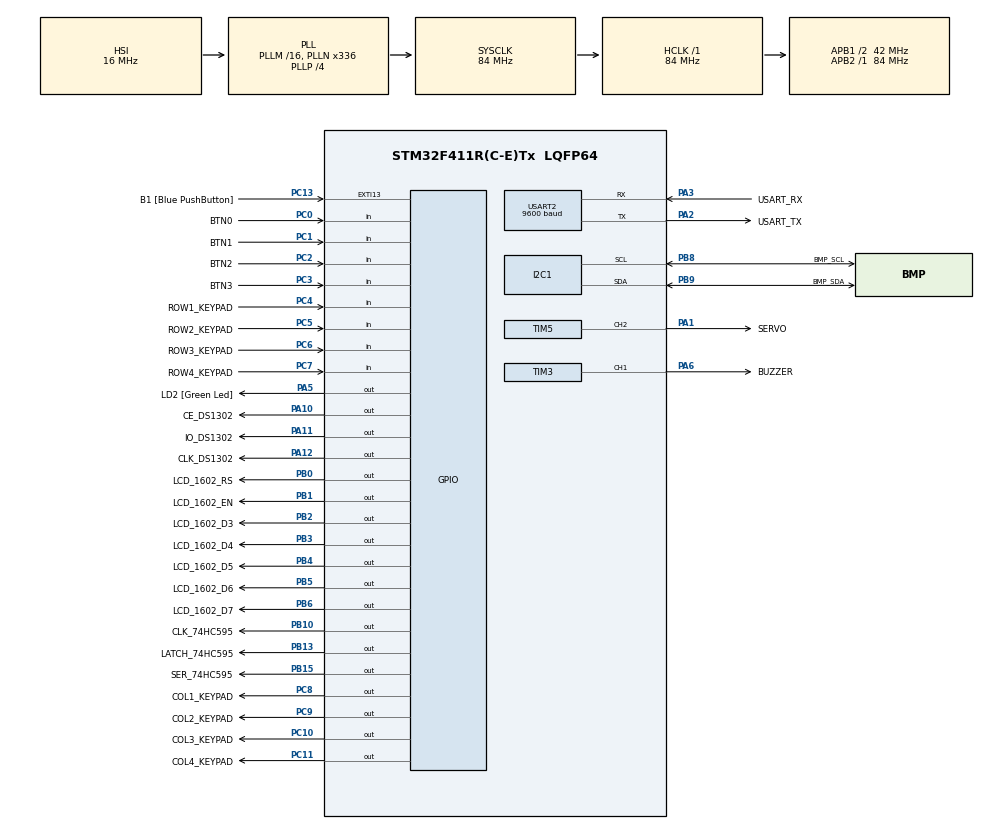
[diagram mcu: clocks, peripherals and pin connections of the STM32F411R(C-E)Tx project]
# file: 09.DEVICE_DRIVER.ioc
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FREERTOS.Tasks01=defaultTask,24,128,StartDefaultTask,Default,NULL,Dynamic,NULL,NULL;myTask02,8,128,StartTask02,Default,NULL,Dynamic,NULL,NULL;myTask03,8,128,StartTask03,Default,NULL,Dynamic,NULL,NULL
FREERTOS.configUSE_NEWLIB_REENTRANT=1
Mcu.Family=STM32F4
Mcu.Name=STM32F411R(C-E)Tx
Mcu.Package=LQFP64
NVIC.PriorityGroup=NVIC_PRIORITYGROUP_4
NVIC.TIM1_TRG_COM_TIM11_IRQn=true\:5\:0\:false\:false\:true\:true\:true\:true
NVIC.TIM1_UP_TIM10_IRQn=true\:15\:0\:false\:false\:true\:false\:false\:true
NVIC.TIM3_IRQn=true\:5\:0\:false\:false\:true\:true\:true\:true
NVIC.TIM5_IRQn=true\:5\:0\:false\:false\:true\:true\:true\:true
NVIC.TimeBase=TIM1_UP_TIM10_IRQn
NVIC.TimeBaseIP=TIM10
NVIC.USART2_IRQn=true\:5\:0\:false\:false\:true\:true\:true\:true
PA1.GPIO_Label=SERVO
PA1.Signal=S_TIM5_CH2
PA10.GPIO_Label=CE_DS1302
PA10.Signal=GPIO_Output
PA11.GPIO_Label=IO_DS1302
PA11.Signal=GPIO_Output
PA12.GPIO_Label=CLK_DS1302
PA12.Signal=GPIO_Output
PA13.GPIO_Label=TMS
PA13.Mode=Serial_Wire
PA13.Signal=SYS_JTMS-SWDIO
PA14.GPIO_Label=TCK
PA14.Mode=Serial_Wire
PA14.Signal=SYS_JTCK-SWCLK
PA2.GPIO_Label=USART_TX
PA2.Mode=Asynchronous
PA2.Signal=USART2_TX
PA3.GPIO_Label=USART_RX
PA3.Mode=Asynchronous
PA3.Signal=USART2_RX
PA5.GPIO_Label=LD2 [Green Led]
PA5.Signal=GPIO_Output
PA6.GPIO_Label=BUZZER
PA6.Signal=S_TIM3_CH1
PB0.GPIO_Label=LCD_1602_RS
PB0.Signal=GPIO_Output
PB1.GPIO_Label=LCD_1602_EN
PB1.Signal=GPIO_Output
PB10.GPIO_Label=CLK_74HC595
PB10.Signal=GPIO_Output
PB13.GPIO_Label=LATCH_74HC595
PB13.Signal=GPIO_Output
PB15.GPIO_Label=SER_74HC595
PB15.Signal=GPIO_Output
PB2.GPIO_Label=LCD_1602_D3
PB2.Signal=GPIO_Output
PB3.GPIO_Label=LCD_1602_D4
PB3.Signal=GPIO_Output
PB4.GPIO_Label=LCD_1602_D5
PB4.Signal=GPIO_Output
PB5.GPIO_Label=LCD_1602_D6
PB5.Signal=GPIO_Output
PB6.GPIO_Label=LCD_1602_D7
PB6.Signal=GPIO_Output
PB8.GPIO_Label=BMP_SCL
PB8.Mode=I2C
PB8.Signal=I2C1_SCL
PB9.GPIO_Label=BMP_SDA
PB9.Mode=I2C
PB9.Signal=I2C1_SDA
PC0.GPIO_Label=BTN0
PC0.Signal=GPIO_Input
PC1.GPIO_Label=BTN1
PC1.Signal=GPIO_Input
PC10.GPIO_Label=COL3_KEYPAD
PC10.Signal=GPIO_Output
PC11.GPIO_Label=COL4_KEYPAD
PC11.Signal=GPIO_Output
PC13-ANTI_TAMP.GPIO_Label=B1 [Blue PushButton]
PC13-ANTI_TAMP.GPIO_ModeDefaultEXTI=GPIO_MODE_IT_FALLING
PC13-ANTI_TAMP.Signal=GPXTI13
PC14-OSC32_IN.Mode=LSE-External-Oscillator
PC14-OSC32_IN.Signal=RCC_OSC32_IN
PC15-OSC32_OUT.Mode=LSE-External-Oscillator
PC15-OSC32_OUT.Signal=RCC_OSC32_OUT
PC2.GPIO_Label=BTN2
PC2.Signal=GPIO_Input
PC3.GPIO_Label=BTN3
PC3.Signal=GPIO_Input
PC4.GPIO_Label=ROW1_KEYPAD
PC4.GPIO_PuPd=GPIO_PULLUP
PC4.Signal=GPIO_Input
PC5.GPIO_Label=ROW2_KEYPAD
PC5.GPIO_PuPd=GPIO_PULLUP
PC5.Signal=GPIO_Input
PC6.GPIO_Label=ROW3_KEYPAD
PC6.GPIO_PuPd=GPIO_PULLUP
PC6.Signal=GPIO_Input
PC7.GPIO_Label=ROW4_KEYPAD
PC7.GPIO_PuPd=GPIO_PULLUP
PC7.Signal=GPIO_Input
PC8.GPIO_Label=COL1_KEYPAD
PC8.Signal=GPIO_Output
PC9.GPIO_Label=COL2_KEYPAD
PC9.Signal=GPIO_Output
PH0\ -\ OSC_IN.Mode=HSE-External-Clock-Source
PH0\ -\ OSC_IN.Signal=RCC_OSC_IN
PH1\ -\ OSC_OUT.Mode=HSE-External-Clock-Source
PH1\ -\ OSC_OUT.Signal=RCC_OSC_OUT
ProjectManager.HeapSize=0x200
ProjectManager.StackSize=0x400
ProjectManager.TargetToolchain=STM32CubeIDE
RCC.48MHZClocksFreq_Value=84000000
RCC.AHBFreq_Value=84000000
RCC.APB1CLKDivider=RCC_HCLK_DIV2
RCC.APB1Freq_Value=42000000
RCC.APB1TimFreq_Value=84000000
RCC.APB2Freq_Value=84000000
RCC.APB2TimFreq_Value=84000000
RCC.CortexFreq_Value=84000000
RCC.FLatency-AdvancedSettings=FLASH_LATENCY_2
RCC.HCLKFreq_Value=84000000
RCC.HSE_VALUE=8000000
RCC.HSI_VALUE=16000000
RCC.PLLN=336
RCC.PLLP=RCC_PLLP_DIV4
RCC.SYSCLKFreq_VALUE=84000000
RCC.SYSCLKSource=RCC_SYSCLKSOURCE_PLLCLK
RCC.VCOOutputFreq_Value=336000000
SH.S_TIM3_CH1.0=TIM3_CH1,PWM Generation1 CH1
SH.S_TIM5_CH2.0=TIM5_CH2,PWM Generation2 CH2
TIM11.Period=1000-1
TIM11.Prescaler=84-1
TIM2.Prescaler=84-1
TIM3.Channel-PWM\ Generation1\ CH1=TIM_CHANNEL_1
TIM3.Period=400-1
TIM3.Prescaler=52.5-1
TIM3.Pulse-PWM\ Generation1\ CH1=200-1
TIM5.Channel-PWM\ Generation2\ CH2=TIM_CHANNEL_2
TIM5.Period=1000-1
TIM5.Prescaler=1680-1
USART2.BaudRate=9600
USART2.VirtualMode=VM_ASYNC
VP_FREERTOS_VS_CMSIS_V2.Mode=CMSIS_V2
VP_SYS_VS_tim10.Mode=TIM10
VP_TIM11_VS_ClockSourceINT.Mode=Enable_Timer
VP_TIM2_VS_ClockSourceINT.Mode=Internal
VP_TIM3_VS_ClockSourceINT.Mode=Internal
VP_TIM5_VS_ClockSourceINT.Mode=Internal
board=NUCLEO-F411RE

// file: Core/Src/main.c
/* USER CODE BEGIN Header */
/**
  ******************************************************************************
  * @file           : main.c
  * @brief          : Main program body
  ******************************************************************************
  * @attention
  *
  * <h2><center>&copy; Copyright (c) 2025 STMicroelectronics.
  * All rights reserved.</center></h2>
  *
  * This software component is licensed by ST under BSD 3-Clause license,
  * the "License"; You may not use this file except in compliance with the
  * License. You may obtain a copy of the License at:
  *                        opensource.org/licenses/BSD-3-Clause
  *
  ******************************************************************************
  */
/* USER CODE END Header */
#include "main.h"
#include "cmsis_os.h"

/* USER CODE BEGIN Includes */
#include "extern.h"
/* USER CODE END Includes */

I2C_HandleTypeDef hi2c1;

TIM_HandleTypeDef htim2;
TIM_HandleTypeDef htim3;
TIM_HandleTypeDef htim5;
TIM_HandleTypeDef htim11;

UART_HandleTypeDef huart2;

/* Definitions for defaultTask */
osThreadId_t defaultTaskHandle;
const osThreadAttr_t defaultTask_attributes = {
  .name = "defaultTask",
  .stack_size = 128 * 4,
  .priority = (osPriority_t) osPriorityNormal,
};
/* Definitions for myTask02 */
osThreadId_t myTask02Handle;
const osThreadAttr_t myTask02_attributes = {
  .name = "myTask02",
  .stack_size = 128 * 4,
  .priority = (osPriority_t) osPriorityLow,
};
/* Definitions for myTask03 */
osThreadId_t myTask03Handle;
const osThreadAttr_t myTask03_attributes = {
  .name = "myTask03",
  .stack_size = 128 * 4,
  .priority = (osPriority_t) osPriorityLow,
};
/* USER CODE BEGIN PV */
uint8_t rx_data;   // uart2 rx byte
volatile int TIM11_1ms_counter=0;
volatile int TIM11_keypad_scan_timer = 0;
/* USER CODE END PV */

void SystemClock_Config(void);
static void MX_GPIO_Init(void);
static void MX_USART2_UART_Init(void);
static void MX_TIM11_Init(void);
static void MX_TIM2_Init(void);
static void MX_I2C1_Init(void);
static void MX_TIM3_Init(void);
static void MX_TIM5_Init(void);
void StartDefaultTask(void *argument);
void StartTask02(void *argument);
void StartTask03(void *argument);

/* USER CODE BEGIN 0 */

#ifdef __GNUC__    // Add for printf
/* With GCC, small printf (option LD Linker->Libraries->Small printf
   set to 'Yes') calls __io_putchar() */
#define PUTCHAR_PROTOTYPE int __io_putchar(int ch)
#else
#define PUTCHAR_PROTOTYPE int fputc(int ch, FILE *f)
#endif /* __GNUC__ */
/**
  * @brief  Retargets the C library printf function to the USART.
  * @param  None
  * @retval None
  */
PUTCHAR_PROTOTYPE   // Add for printf
{
  /* Place your implementation of fputc here */
  /* e.g. write a character to the USART3 and Loop until the end of transmission */
  HAL_UART_Transmit(&huart2, (uint8_t *)&ch, 1, 0xFFFF);

  return ch;
}
/* USER CODE END 0 */

int main(void)
{

  /* MCU Configuration--------------------------------------------------------*/

  /* Reset of all peripherals, Initializes the Flash interface and the Systick. */
  HAL_Init();

  /* Configure the system clock */
  SystemClock_Config();

  /* Initialize all configured peripherals */
  MX_GPIO_Init();
  MX_USART2_UART_Init();
  MX_TIM11_Init();
  MX_TIM2_Init();
  MX_I2C1_Init();
  MX_TIM3_Init();
  MX_TIM5_Init();
  /* USER CODE BEGIN 2 */
  HAL_UART_Receive_IT(&huart2, &rx_data, 1);
  HAL_TIM_Base_Start_IT(&htim11);
  HAL_TIM_Base_Start_IT(&htim2);   // for make delay_us

  /* keypadInit();
  while(1)
  {
	  key_cal();
	  //printf("%d",key_cal());
	  if(!queue_empty())
	  {
		  uint8_t key_value;
		  key_value = read_queue();
		  printf("Key : %c\n",key_value);
	  }
*/

// dotmatrix_name_main();
// dotmatrix_main_test();
  //bmp180_test_main();
  lcd_1602_main();
  //ds1302_main();
  //I2C_Scan();
// led_main();
// i2c_lcd_main();
// ds1302_main();
// buzzer_main();
// servo_motor_main();

  /* USER CODE END 2 */

  /* Init scheduler */
  osKernelInitialize();

  /* Create the thread(s) */
  /* creation of defaultTask */
  defaultTaskHandle = osThreadNew(StartDefaultTask, NULL, &defaultTask_attributes);

  /* creation of myTask02 */
  myTask02Handle = osThreadNew(StartTask02, NULL, &myTask02_attributes);

  /* creation of myTask03 */
  myTask03Handle = osThreadNew(StartTask03, NULL, &myTask03_attributes);

  /* Start scheduler */
  osKernelStart();

  /* We should never get here as control is now taken by the scheduler */
  /* Infinite loop */
  /* USER CODE BEGIN WHILE */
  while (1)
  {
	 //button_led_toggle_test();
    /* USER CODE END WHILE */

  }
}

void SystemClock_Config(void)
{
  RCC_OscInitTypeDef RCC_OscInitStruct = {0};
  RCC_ClkInitTypeDef RCC_ClkInitStruct = {0};

  /** Configure the main internal regulator output voltage
  */
  __HAL_RCC_PWR_CLK_ENABLE();
  __HAL_PWR_VOLTAGESCALING_CONFIG(PWR_REGULATOR_VOLTAGE_SCALE1);
  /** Initializes the RCC Oscillators according to the specified parameters
  * in the RCC_OscInitTypeDef structure.
  */
  RCC_OscInitStruct.OscillatorType = RCC_OSCILLATORTYPE_HSI;
  RCC_OscInitStruct.HSIState = RCC_HSI_ON;
  RCC_OscInitStruct.HSICalibrationValue = RCC_HSICALIBRATION_DEFAULT;
  RCC_OscInitStruct.PLL.PLLState = RCC_PLL_ON;
  RCC_OscInitStruct.PLL.PLLSource = RCC_PLLSOURCE_HSI;
  RCC_OscInitStruct.PLL.PLLM = 16;
  RCC_OscInitStruct.PLL.PLLN = 336;
  RCC_OscInitStruct.PLL.PLLP = RCC_PLLP_DIV4;
  RCC_OscInitStruct.PLL.PLLQ = 4;
  if (HAL_RCC_OscConfig(&RCC_OscInitStruct) != HAL_OK)
  {
    Error_Handler();
  }
  /** Initializes the CPU, AHB and APB buses clocks
  */
  RCC_ClkInitStruct.ClockType = RCC_CLOCKTYPE_HCLK|RCC_CLOCKTYPE_SYSCLK
                              |RCC_CLOCKTYPE_PCLK1|RCC_CLOCKTYPE_PCLK2;
  RCC_ClkInitStruct.SYSCLKSource = RCC_SYSCLKSOURCE_PLLCLK;
  RCC_ClkInitStruct.AHBCLKDivider = RCC_SYSCLK_DIV1;
  RCC_ClkInitStruct.APB1CLKDivider = RCC_HCLK_DIV2;
  RCC_ClkInitStruct.APB2CLKDivider = RCC_HCLK_DIV1;

  if (HAL_RCC_ClockConfig(&RCC_ClkInitStruct, FLASH_LATENCY_2) != HAL_OK)
  {
    Error_Handler();
  }
}

static void MX_I2C1_Init(void)
{

  hi2c1.Instance = I2C1;
  hi2c1.Init.ClockSpeed = 100000;
  hi2c1.Init.DutyCycle = I2C_DUTYCYCLE_2;
  hi2c1.Init.OwnAddress1 = 0;
  hi2c1.Init.AddressingMode = I2C_ADDRESSINGMODE_7BIT;
  hi2c1.Init.DualAddressMode = I2C_DUALADDRESS_DISABLE;
  hi2c1.Init.OwnAddress2 = 0;
  hi2c1.Init.GeneralCallMode = I2C_GENERALCALL_DISABLE;
  hi2c1.Init.NoStretchMode = I2C_NOSTRETCH_DISABLE;
  if (HAL_I2C_Init(&hi2c1) != HAL_OK)
  {
    Error_Handler();
  }

}

static void MX_TIM2_Init(void)
{

  TIM_ClockConfigTypeDef sClockSourceConfig = {0};
  TIM_MasterConfigTypeDef sMasterConfig = {0};

  htim2.Instance = TIM2;
  htim2.Init.Prescaler = 84-1;
  htim2.Init.CounterMode = TIM_COUNTERMODE_UP;
  htim2.Init.Period = 4294967295;
  htim2.Init.ClockDivision = TIM_CLOCKDIVISION_DIV1;
  htim2.Init.AutoReloadPreload = TIM_AUTORELOAD_PRELOAD_DISABLE;
  if (HAL_TIM_Base_Init(&htim2) != HAL_OK)
  {
    Error_Handler();
  }
  sClockSourceConfig.ClockSource = TIM_CLOCKSOURCE_INTERNAL;
  if (HAL_TIM_ConfigClockSource(&htim2, &sClockSourceConfig) != HAL_OK)
  {
    Error_Handler();
  }
  sMasterConfig.MasterOutputTrigger = TIM_TRGO_RESET;
  sMasterConfig.MasterSlaveMode = TIM_MASTERSLAVEMODE_DISABLE;
  if (HAL_TIMEx_MasterConfigSynchronization(&htim2, &sMasterConfig) != HAL_OK)
  {
    Error_Handler();
  }

}

static void MX_TIM3_Init(void)
{

  TIM_ClockConfigTypeDef sClockSourceConfig = {0};
  TIM_MasterConfigTypeDef sMasterConfig = {0};
  TIM_OC_InitTypeDef sConfigOC = {0};

  htim3.Instance = TIM3;
  htim3.Init.Prescaler = 52.5-1;
  htim3.Init.CounterMode = TIM_COUNTERMODE_UP;
  htim3.Init.Period = 400-1;
  htim3.Init.ClockDivision = TIM_CLOCKDIVISION_DIV1;
  htim3.Init.AutoReloadPreload = TIM_AUTORELOAD_PRELOAD_DISABLE;
  if (HAL_TIM_Base_Init(&htim3) != HAL_OK)
  {
    Error_Handler();
  }
  sClockSourceConfig.ClockSource = TIM_CLOCKSOURCE_INTERNAL;
  if (HAL_TIM_ConfigClockSource(&htim3, &sClockSourceConfig) != HAL_OK)
  {
    Error_Handler();
  }
  if (HAL_TIM_PWM_Init(&htim3) != HAL_OK)
  {
    Error_Handler();
  }
  sMasterConfig.MasterOutputTrigger = TIM_TRGO_RESET;
  sMasterConfig.MasterSlaveMode = TIM_MASTERSLAVEMODE_DISABLE;
  if (HAL_TIMEx_MasterConfigSynchronization(&htim3, &sMasterConfig) != HAL_OK)
  {
    Error_Handler();
  }
  sConfigOC.OCMode = TIM_OCMODE_PWM1;
  sConfigOC.Pulse = 200-1;
  sConfigOC.OCPolarity = TIM_OCPOLARITY_HIGH;
  sConfigOC.OCFastMode = TIM_OCFAST_DISABLE;
  if (HAL_TIM_PWM_ConfigChannel(&htim3, &sConfigOC, TIM_CHANNEL_1) != HAL_OK)
  {
    Error_Handler();
  }
  HAL_TIM_MspPostInit(&htim3);

}

static void MX_TIM5_Init(void)
{

  TIM_ClockConfigTypeDef sClockSourceConfig = {0};
  TIM_MasterConfigTypeDef sMasterConfig = {0};
  TIM_OC_InitTypeDef sConfigOC = {0};

  htim5.Instance = TIM5;
  htim5.Init.Prescaler = 1680-1;
  htim5.Init.CounterMode = TIM_COUNTERMODE_UP;
  htim5.Init.Period = 1000-1;
  htim5.Init.ClockDivision = TIM_CLOCKDIVISION_DIV1;
  htim5.Init.AutoReloadPreload = TIM_AUTORELOAD_PRELOAD_DISABLE;
  if (HAL_TIM_Base_Init(&htim5) != HAL_OK)
  {
    Error_Handler();
  }
  sClockSourceConfig.ClockSource = TIM_CLOCKSOURCE_INTERNAL;
  if (HAL_TIM_ConfigClockSource(&htim5, &sClockSourceConfig) != HAL_OK)
  {
    Error_Handler();
  }
  if (HAL_TIM_PWM_Init(&htim5) != HAL_OK)
  {
    Error_Handler();
  }
  sMasterConfig.MasterOutputTrigger = TIM_TRGO_RESET;
  sMasterConfig.MasterSlaveMode = TIM_MASTERSLAVEMODE_DISABLE;
  if (HAL_TIMEx_MasterConfigSynchronization(&htim5, &sMasterConfig) != HAL_OK)
  {
    Error_Handler();
  }
  sConfigOC.OCMode = TIM_OCMODE_PWM1;
  sConfigOC.Pulse = 0;
  sConfigOC.OCPolarity = TIM_OCPOLARITY_HIGH;
  sConfigOC.OCFastMode = TIM_OCFAST_DISABLE;
  if (HAL_TIM_PWM_ConfigChannel(&htim5, &sConfigOC, TIM_CHANNEL_2) != HAL_OK)
  {
    Error_Handler();
  }
  HAL_TIM_MspPostInit(&htim5);

}

static void MX_TIM11_Init(void)
{

  htim11.Instance = TIM11;
  htim11.Init.Prescaler = 84-1;
  htim11.Init.CounterMode = TIM_COUNTERMODE_UP;
  htim11.Init.Period = 1000-1;
  htim11.Init.ClockDivision = TIM_CLOCKDIVISION_DIV1;
  htim11.Init.AutoReloadPreload = TIM_AUTORELOAD_PRELOAD_DISABLE;
  if (HAL_TIM_Base_Init(&htim11) != HAL_OK)
  {
    Error_Handler();
  }

}

static void MX_USART2_UART_Init(void)
{

  huart2.Instance = USART2;
  huart2.Init.BaudRate = 9600;
  huart2.Init.WordLength = UART_WORDLENGTH_8B;
  huart2.Init.StopBits = UART_STOPBITS_1;
  huart2.Init.Parity = UART_PARITY_NONE;
  huart2.Init.Mode = UART_MODE_TX_RX;
  huart2.Init.HwFlowCtl = UART_HWCONTROL_NONE;
  huart2.Init.OverSampling = UART_OVERSAMPLING_16;
  if (HAL_UART_Init(&huart2) != HAL_OK)
  {
    Error_Handler();
  }

}

static void MX_GPIO_Init(void)
{
  GPIO_InitTypeDef GPIO_InitStruct = {0};

  /* GPIO Ports Clock Enable */
  __HAL_RCC_GPIOC_CLK_ENABLE();
  __HAL_RCC_GPIOH_CLK_ENABLE();
  __HAL_RCC_GPIOA_CLK_ENABLE();
  __HAL_RCC_GPIOB_CLK_ENABLE();

  /*Configure GPIO pin Output Level */
  HAL_GPIO_WritePin(GPIOA, LD2_Pin|CE_DS1302_Pin|IO_DS1302_Pin|CLK_DS1302_Pin, GPIO_PIN_RESET);

  /*Configure GPIO pin Output Level */
  HAL_GPIO_WritePin(GPIOB, LCD_1602_RS_Pin|LCD_1602_EN_Pin|LCD_1602_D3_Pin|CLK_74HC595_Pin
                          |LATCH_74HC595_Pin|SER_74HC595_Pin|LCD_1602_D4_Pin|LCD_1602_D5_Pin
                          |LCD_1602_D6_Pin|LCD_1602_D7_Pin, GPIO_PIN_RESET);

  /*Configure GPIO pin Output Level */
  HAL_GPIO_WritePin(GPIOC, COL1_KEYPAD_Pin|COL2_KEYPAD_Pin|COL3_KEYPAD_Pin|COL4_KEYPAD_Pin, GPIO_PIN_RESET);

  /*Configure GPIO pin : B1_Pin */
  GPIO_InitStruct.Pin = B1_Pin;
  GPIO_InitStruct.Mode = GPIO_MODE_IT_FALLING;
  GPIO_InitStruct.Pull = GPIO_NOPULL;
  HAL_GPIO_Init(B1_GPIO_Port, &GPIO_InitStruct);

  /*Configure GPIO pins : BTN0_Pin BTN1_Pin BTN2_Pin BTN3_Pin */
  GPIO_InitStruct.Pin = BTN0_Pin|BTN1_Pin|BTN2_Pin|BTN3_Pin;
  GPIO_InitStruct.Mode = GPIO_MODE_INPUT;
  GPIO_InitStruct.Pull = GPIO_NOPULL;
  HAL_GPIO_Init(GPIOC, &GPIO_InitStruct);

  /*Configure GPIO pins : LD2_Pin CE_DS1302_Pin IO_DS1302_Pin CLK_DS1302_Pin */
  GPIO_InitStruct.Pin = LD2_Pin|CE_DS1302_Pin|IO_DS1302_Pin|CLK_DS1302_Pin;
  GPIO_InitStruct.Mode = GPIO_MODE_OUTPUT_PP;
  GPIO_InitStruct.Pull = GPIO_NOPULL;
  GPIO_InitStruct.Speed = GPIO_SPEED_FREQ_LOW;
  HAL_GPIO_Init(GPIOA, &GPIO_InitStruct);

  /*Configure GPIO pins : ROW1_KEYPAD_Pin ROW2_KEYPAD_Pin ROW3_KEYPAD_Pin ROW4_KEYPAD_Pin */
  GPIO_InitStruct.Pin = ROW1_KEYPAD_Pin|ROW2_KEYPAD_Pin|ROW3_KEYPAD_Pin|ROW4_KEYPAD_Pin;
  GPIO_InitStruct.Mode = GPIO_MODE_INPUT;
  GPIO_InitStruct.Pull = GPIO_PULLUP;
  HAL_GPIO_Init(GPIOC, &GPIO_InitStruct);

  /*Configure GPIO pins : LCD_1602_RS_Pin LCD_1602_EN_Pin LCD_1602_D3_Pin CLK_74HC595_Pin
                           LATCH_74HC595_Pin SER_74HC595_Pin LCD_1602_D4_Pin LCD_1602_D5_Pin
                           LCD_1602_D6_Pin LCD_1602_D7_Pin */
  GPIO_InitStruct.Pin = LCD_1602_RS_Pin|LCD_1602_EN_Pin|LCD_1602_D3_Pin|CLK_74HC595_Pin
                          |LATCH_74HC595_Pin|SER_74HC595_Pin|LCD_1602_D4_Pin|LCD_1602_D5_Pin
                          |LCD_1602_D6_Pin|LCD_1602_D7_Pin;
  GPIO_InitStruct.Mode = GPIO_MODE_OUTPUT_PP;
  GPIO_InitStruct.Pull = GPIO_NOPULL;
  GPIO_InitStruct.Speed = GPIO_SPEED_FREQ_LOW;
  HAL_GPIO_Init(GPIOB, &GPIO_InitStruct);

  /*Configure GPIO pins : COL1_KEYPAD_Pin COL2_KEYPAD_Pin COL3_KEYPAD_Pin COL4_KEYPAD_Pin */
  GPIO_InitStruct.Pin = COL1_KEYPAD_Pin|COL2_KEYPAD_Pin|COL3_KEYPAD_Pin|COL4_KEYPAD_Pin;
  GPIO_InitStruct.Mode = GPIO_MODE_OUTPUT_PP;
  GPIO_InitStruct.Pull = GPIO_NOPULL;
  GPIO_InitStruct.Speed = GPIO_SPEED_FREQ_LOW;
  HAL_GPIO_Init(GPIOC, &GPIO_InitStruct);

}

void StartDefaultTask(void *argument)
{
  /* USER CODE BEGIN 5 */
  /* Infinite loop */
  for(;;)
  {
	HAL_GPIO_TogglePin(GPIOA, GPIO_PIN_5);
	osDelay(50);
  }
  /* USER CODE END 5 */
}

void StartTask02(void *argument)
{
  /* USER CODE BEGIN StartTask02 */
  /* Infinite loop */
  for(;;)
  {
	button_led_toggle_test();
    osDelay(1);
  }
  /* USER CODE END StartTask02 */
}

void StartTask03(void *argument)
{
  for(;;)
  {
	osDelay(1);
  }
}

void HAL_TIM_PeriodElapsedCallback(TIM_HandleTypeDef *htim)
{
  if (htim->Instance == TIM10) {
    HAL_IncTick();
  }
  /* USER CODE BEGIN Callback 1 */
  if (htim->Instance == TIM11) {
	TIM11_1ms_counter++;
	TIM11_keypad_scan_timer++;
	if (TIM11_keypad_scan_timer >= 60) // 60ms
	{
		unsigned char key_value;

		TIM11_keypad_scan_timer = 0;
		key_value = keypadScan();
		if (key_value)
			insert_queue(key_value); // circular queue ?�� insert
	}
  }
  /* USER CODE END Callback 1 */
}

void Error_Handler(void)
{
  __disable_irq();
  while (1)
  {
  }
}

/************************ (C) COPYRIGHT STMicroelectronics *****END OF FILE****/
